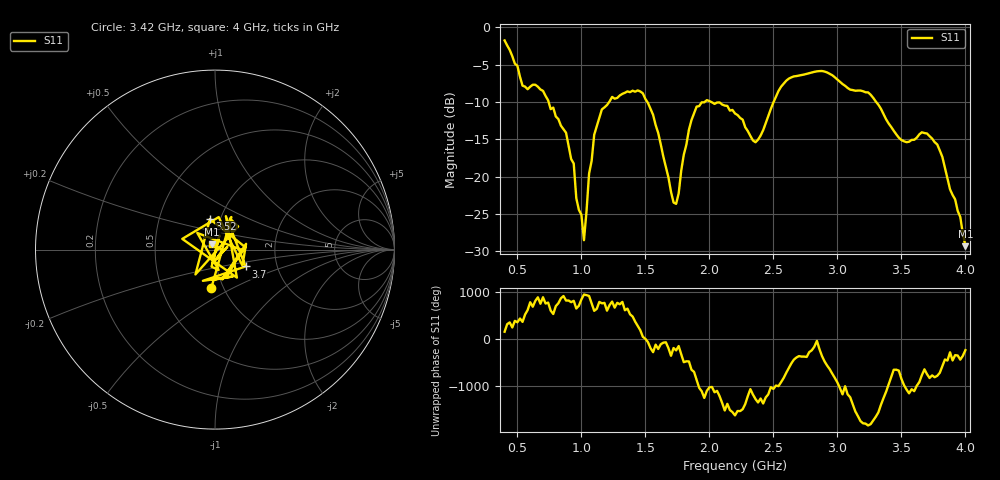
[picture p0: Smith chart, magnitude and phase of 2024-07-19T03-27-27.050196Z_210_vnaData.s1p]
!Created with skrf (http://scikit-rf.org).
# Hz S RI R 50.0
!freq ReS11 ImS11
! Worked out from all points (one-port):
!   181 points, 400 MHz to 4 GHz, reference 50 ohm
!   lowest |S11| = -29.3 dB at 4 GHz (marker M1), VSWR 1.07, Z = 48.3 + j2.91 ohm
!   |S11| at or under -10 dB: 743.8 MHz to 1.217 GHz (472.9 MHz wide, 48.2 % of centre); 2.015 GHz to 2.502 GHz (486.3 MHz wide, 21.5 % of centre); 3.303 GHz to end of sweep (the widest 3 of 4)
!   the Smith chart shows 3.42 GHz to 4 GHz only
!   S11 on the Smith chart (normalised r, x): 3.42 GHz: 0.88, -0.39; 3.52 GHz: 0.89, +0.31; 3.7 GHz: 1.38, -0.27; 4 GHz: 0.97, +0.06
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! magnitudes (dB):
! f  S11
! 400 MHz  -1.8
! 540 MHz  -7.8
! 700 MHz  -8.5
! 860 MHz  -13.7
! 940 MHz  -18.2
! 960 MHz  -22.9
! 1.02 GHz  -28.5
! 1.06 GHz  -19.6
! 1.1 GHz  -14.4
! 1.16 GHz  -11.0
! 1.3 GHz  -9.1
! 1.48 GHz  -8.8
! 1.6 GHz  -14.1
! 1.72 GHz  -23.5
! 1.76 GHz  -22.2
! 1.84 GHz  -13.7
! 1.9 GHz  -10.6
! 2.2 GHz  -11.5
! 2.36 GHz  -15.4
! 2.66 GHz  -6.6
! 3.1 GHz  -8.3
! 3.24 GHz  -8.7
! 3.42 GHz  -13.3
! 3.52 GHz  -15.3
! 3.56 GHz  -15.3
! 3.7 GHz  -14.2
! 3.82 GHz  -17.4
! 4 GHz  -29.3
